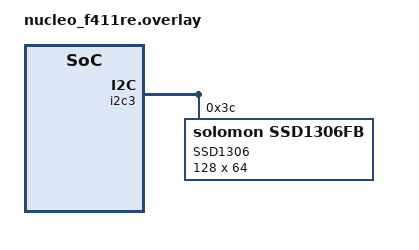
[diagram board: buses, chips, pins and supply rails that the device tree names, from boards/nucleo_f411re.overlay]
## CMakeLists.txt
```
# SPDX-License-Identifier: LGPLv3

cmake_minimum_required(VERSION 3.13.1)

include($ENV{ZEPHYR_BASE}/cmake/app/boilerplate.cmake NO_POLICY_SCOPE)
project(lambdachip-zephyr)

zephyr_library_compile_options(-Wall -Wno-unused -Wextra
  -Wno-int-to-pointer-cast -Wno-pointer-to-int-cast -Wno-pointer-arith
  -fdiagnostics-color=always -Wno-strict-aliasing -Wno-discarded-qualifiers)

zephyr_include_directories(app PRIVATE ${ZEPHYR_BASE}/include)

FILE(GLOB app_sources src/*.c)
target_sources(app PRIVATE ${app_sources})
```

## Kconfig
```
# LambdaChip configuration options

# Copyright (c) 2020-2021 LambdaChip

# SPDX-License-Identifier: LGPL-3.0


source "Kconfig.zephyr"
```

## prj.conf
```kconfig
CONFIG_HEAP_MEM_POOL_SIZE=16384
CONFIG_MAIN_STACK_SIZE=2048

CONFIG_PRINTK=y

CONFIG_CONSOLE_SUBSYS=y
CONFIG_CONSOLE_GETCHAR=y
CONFIG_CONSOLE_GETCHAR_BUFSIZE=64

CONFIG_NEWLIB_LIBC=y

CONFIG_FLASH=y
CONFIG_MPU_ALLOW_FLASH_WRITE=y

CONFIG_I2C=y
CONFIG_I2C_STM32=y
CONFIG_I2C_STM32_INTERRUPT=n

# ssd1306
CONFIG_STDOUT_CONSOLE=y
CONFIG_HEAP_MEM_POOL_SIZE=16384
CONFIG_DISPLAY=y

CONFIG_SSD1306=y

CONFIG_DISPLAY_LOG_LEVEL_ERR=y

CONFIG_LVGL=y
CONFIG_LVGL_USE_LABEL=y
CONFIG_LVGL_USE_CONT=y
CONFIG_LVGL_USE_BTN=y
CONFIG_LVGL_USE_THEME_MATERIAL=y

CONFIG_LVGL_COLOR_DEPTH_1=y
CONFIG_LVGL_COLOR_DEPTH_8=n
CONFIG_LVGL_COLOR_DEPTH_16=n
CONFIG_LVGL_COLOR_DEPTH_32=n

# Added
CONFIG_LVGL_DISPLAY_DEV_NAME="SSD1306"
CONFIG_NO_OPTIMIZATIONS=y

CONFIG_LVGL_BUFFER_ALLOC_STATIC=y
CONFIG_MULTITHREADING=y
# openocd thread debug
CONFIG_DEBUG_THREAD_INFO=y
CONFIG_THREAD_STACK_INFO=y
CONFIG_SPIN_VALIDATE=y

# disable MPU
CONFIG_MPU=n
CONFIG_ARM_MPU=n
CONFIG_HW_STACK_PROTECTION=n
# ARM_STACK_PROTECTION depends on CONFIG_HW_STACK_PROTECTION
# CONFIG_MPU_STACK_GUARD depends on ARM_STACK_PROTECTION
CONFIG_MPU_STACK_GUARD=n

CONFIG_FLASH=n
CONFIG_UART_CONSOLE=n
CONFIG_NUM_PREEMPT_PRIORITIES=0
```

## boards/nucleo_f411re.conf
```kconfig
CONFIG_CBPRINTF_FP_SUPPORT=y

CONFIG_LVGL_POINTER_KSCAN=y
CONFIG_LVGL_HOR_RES_MAX=128
CONFIG_LVGL_VER_RES_MAX=64
# CONFIG_LVGL_DPI=149.5
# 128/(21.744/25.4) = 149.52170713760117
# 64/(10.864/25.4) = 149.63181148748157
CONFIG_LVGL_DPI=149
```

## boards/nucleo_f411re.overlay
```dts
/*
 * Copyright (c) 2020-2021 LambdaChip
 *
 * SPDX-License-Identifier: Apache-2.0
 */

/* /dts-v1/;
#include <st/f4/stm32f411Xe.dtsi>
#include <st/f4/stm32f411r(c-e)tx-pinctrl.dtsi> */
/* #include "arduino_r3_connector.dtsi" */

/* Alonzo v0.0.5 */

/ {
	// model = "LambdaChip Alonzo";
	// compatible = "st,stm32f411";

	chosen {
	};

	// &i2c1 {
	// 	// clock-frequency = <400000>;
	// 	test_i2c_ssd1306fb: ssd1306fb@26 {
	// 		compatible = "solomon,ssd1306fb";
	// 		label = "SSD1306FB";
	// 		reg = <0x26>;
	// 		height = <0>;
	// 		width = <0>;
	// 		segment-offset = <0>;
	// 		page-offset = <0>;
	// 		display-offset = <0>;
	// 		multiplex-ratio = <0>;
	// 		/* segment-remap; */
	// 		/* com-invdir; */
	// 		/* com-sequential; */
	// 		prechargep = <0>;
	// 		reset-gpios = <&test_gpio 0 0>;
	// 	};

		// ssd1306_128x64@0 {
		// 	compatible = "solomon,ssd1306_128x64", "gooddisplay,gdeh0213b1";
		// 	label = "SSD16XX";
		// 	spi-max-frequency = <4000000>;
		// 	reg = <4>;
		// 	width = <256>;
		// 	height = <128>;
		// 	pp-width-bits = <8>;
		// 	pp-height-bits = <8>;
		// 	reset-gpios = <&gpiob 6 GPIO_ACTIVE_LOW>;
		// 	dc-gpios = <&gpiob 7 GPIO_ACTIVE_LOW>;
		// 	// busy-gpios = <&gpioa 14 GPIO_ACTIVE_HIGH>;
		// 	gdv = [10 0a];
		// 	sdv = [19];
		// 	vcom = <0xa8>;
		// 	border-waveform = <0x71>;
		// 	lut-initial = [
		// 		22 55 AA 55 AA 55 AA 11
		// 		00 00 00 00 00 00 00 00
		// 		1E 1E 1E 1E 1E 1E 1E 1E
		// 		01 00 00 00 00
		// 	];
		// 	lut-default = [
		// 		18 00 00 00 00 00 00 00
		// 		00 00 00 00 00 00 00 00
		// 		0F 01 00 00 00 00 00 00
		// 		00 00 00 00 00
		// 	];
		// };
};


// &i2c0 {
// 	status = "okay";
// 	sda-pin = <0>;
// 	scl-pin = <1>;

// 	/* Sparkfun Environment Combo uses second I2C address */
// 	// ccs811: ccs811@5b {
// 	// 	compatible = "ams,ccs811";
// 	// 	reg = <0x5b>;
// 	// 	label = "CCS811";
// 	// 	irq-gpios = <&gpio0 2 GPIO_ACTIVE_LOW>;
// 	// 	wake-gpios = <&gpio0 5 GPIO_ACTIVE_LOW>;
// 	// 	reset-gpios = <&gpio0 6 GPIO_ACTIVE_LOW>;
// 	// };
// };

&i2c3 {
	status = "okay";

	ssd1306@3c {
		compatible = "solomon,ssd1306fb";
		reg = <0x3c>;
		label = "SSD1306";
		width = <128>;
		height = <64>;
		segment-offset = <0>;
		page-offset = <0>;
		display-offset = <0>;
		multiplex-ratio = <63>;
		segment-remap;
		com-invdir;
		prechargep = <0x22>;
	};
};
```

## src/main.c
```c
/*
 *  Copyright (C) 2022 Rafael Lee <rafaellee.img@gmail.com>
 */

#include <device.h>
#include <display/cfb.h>
#include <drivers/display.h>
#include <drivers/gpio.h>
#include <lvgl.h>
#include <src/lv_core/lv_obj.h>
#include <src/lv_widgets/lv_canvas.h>

#include <stdio.h>
#include <string.h>
#include <zephyr.h>

#if defined(CONFIG_SSD16XX)
#define DISPLAY_DRIVER "SSD16XX"
#endif

#if defined(CONFIG_SSD1306)
#define DISPLAY_DRIVER "SSD1306"
#endif

#if defined(CONFIG_ILI9340)
#define DISPLAY_DRIVER "ILI9340"
#endif

#ifndef DISPLAY_DRIVER
#define DISPLAY_DRIVER "DISPLAY"
#endif

#define LOG_LEVEL CONFIG_LOG_DEFAULT_LEVEL
#include <logging/log.h>
LOG_MODULE_REGISTER(app);

/* size of stack area used by each thread */
#define STACKSIZE 1024

/* scheduling priority used by each thread */
#define PRIORITY 7

#define LED0_NODE DT_ALIAS(led0)
#define LED0 DT_GPIO_LABEL(LED0_NODE, gpios)
#define LED0_PIN DT_GPIO_PIN(LED0_NODE, gpios)
#define LED0_FLAGS DT_GPIO_FLAGS(LED0_NODE, gpios)

#define LED1_NODE DT_ALIAS(led1)
#define LED1 DT_GPIO_LABEL(LED1_NODE, gpios)
#define LED1_PIN DT_GPIO_PIN(LED1_NODE, gpios)
#define LED1_FLAGS DT_GPIO_FLAGS(LED1_NODE, gpios)

#define LED2_NODE DT_ALIAS(led2)
#define LED2 DT_GPIO_LABEL(LED2_NODE, gpios)
#define LED2_PIN DT_GPIO_PIN(LED2_NODE, gpios)
#define LED2_FLAGS DT_GPIO_FLAGS(LED2_NODE, gpios)

#define LED3_NODE DT_ALIAS(led3)
#define LED3 DT_GPIO_LABEL(LED3_NODE, gpios)
#define LED3_PIN DT_GPIO_PIN(LED3_NODE, gpios)
#define LED3_FLAGS DT_GPIO_FLAGS(LED3_NODE, gpios)

#if !DT_NODE_HAS_STATUS(LED0_NODE, okay)
#error "Unsupported board: led0 devicetree alias is not defined"
#endif

const struct device *dev_led0 = { 0 };

struct printk_data_t {
	void *fifo_reserved; /* 1st word reserved for use by fifo */
	uint32_t led;
	uint32_t cnt;
};

K_FIFO_DEFINE(printk_fifo);

lv_obj_t *screen0_slider_obj;
static short screen0_slider_value = 15;

typedef struct {
	lv_obj_t **object;
	short *value;
	short step;
	short max;
	short min;
} param_t;

typedef struct {
	lv_obj_t *screen;
	int count;
	param_t *params;
} screens_t;

static param_t screen0_elements[] = {
	{ .object = &screen0_slider_obj,
	  .value = &screen0_slider_value,
	  .step = 5,
	  .max = 100,
	  .min = 0 },
};

static screens_t screens[] = {
	{ .screen = NULL, .count = 1, .params = screen0_elements },
};

void main(void)
{
	// LED initialize
	dev_led0 = device_get_binding(LED0);

	int ret = 0;
	ret = gpio_pin_configure(dev_led0, LED0_PIN, GPIO_OUTPUT_ACTIVE | LED0_FLAGS);
	if (ret < 0) {
		return;
	}

	gpio_pin_set(dev_led0, LED0_PIN, 0);

	// LVGL
	const struct device *display_dev;

	display_dev = device_get_binding(CONFIG_LVGL_DISPLAY_DEV_NAME);

	if (display_dev == NULL) {
		printk("device not found.  Aborting test.");
		return;
	}

	if (!device_is_ready(display_dev)) {
		LOG_ERR("Device not ready, aborting test");
		return;
	}

	lv_obj_t *screen = lv_scr_act();

	lv_obj_t *hello_world_label;

	hello_world_label = lv_label_create(lv_scr_act(), NULL);

	lv_label_set_text(hello_world_label, "Hello world!");
	lv_obj_align(hello_world_label, NULL, LV_ALIGN_CENTER, 0, 0);

	char count_str[11] = { 0 };
	uint32_t count = 0U;

	while (1) {
		if ((count % 10) == 0U) {
			sprintf(count_str, "%d", count / 10U);

			// gpio_pin_toggle (dev_led3, LED3_PIN);
			gpio_pin_toggle(dev_led0, LED0_PIN);
			lv_label_set_text(hello_world_label, count_str);

			lv_task_handler();
		}
		k_busy_wait(100000); // 0.1s
		++count;
	}
}

void blink(const struct device *port, gpio_pin_t pin, uint32_t sleep_ms)
{
	while (1) {
		gpio_pin_toggle(port, pin);
		k_busy_wait(1000 * sleep_ms);
	}
}
```
